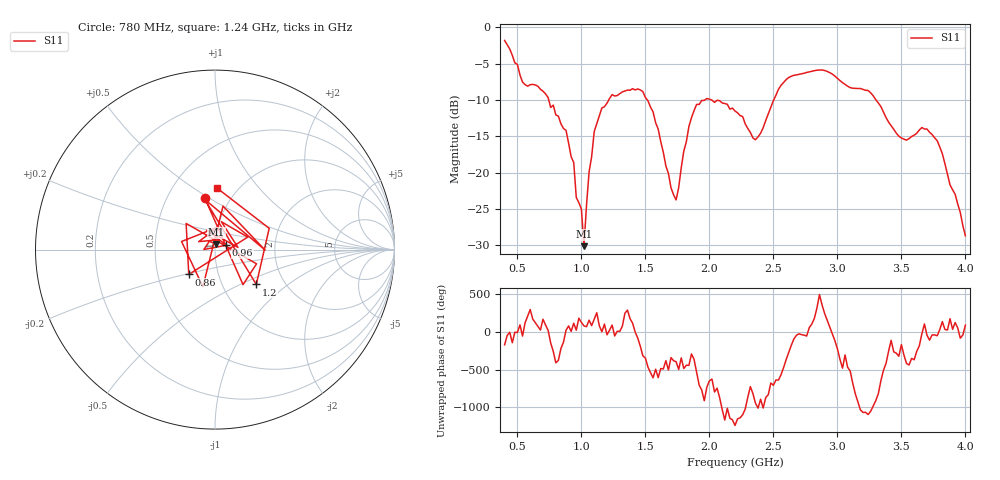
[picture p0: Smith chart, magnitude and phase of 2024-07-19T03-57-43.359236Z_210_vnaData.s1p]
!Created with skrf (http://scikit-rf.org).
# Hz S RI R 50.0
!freq ReS11 ImS11
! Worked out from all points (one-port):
!   181 points, 400 MHz to 4 GHz, reference 50 ohm
!   lowest |S11| = -30.1 dB at 1.02 GHz (marker M1), VSWR 1.06, Z = 50.6 + j3.08 ohm
!   |S11| at or under -10 dB: 744.9 MHz to 1.213 GHz (468.2 MHz wide, 47.8 % of centre); 2.018 GHz to 2.502 GHz (484.3 MHz wide, 21.4 % of centre); 3.302 GHz to end of sweep (the widest 3 of 4)
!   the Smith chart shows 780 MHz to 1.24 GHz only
!   S11 on the Smith chart (normalised r, x): 780 MHz: 0.76, +0.48; 860 MHz: 0.72, -0.21; 960 MHz: 1.13, +0.06; 1.2 GHz: 1.44, -0.62; 1.24 GHz: 0.80, +0.63
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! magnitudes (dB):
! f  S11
! 400 MHz  -1.8
! 540 MHz  -7.5
! 780 MHz  -10.7
! 860 MHz  -13.9
! 940 MHz  -18.6
! 960 MHz  -23.4
! 1 GHz  -25.0
! 1.02 GHz  -30.1
! 1.06 GHz  -19.9
! 1.1 GHz  -14.3
! 1.2 GHz  -10.4
! 1.24 GHz  -9.3
! 1.3 GHz  -9.1
! 1.48 GHz  -8.8
! 1.56 GHz  -11.6
! 1.72 GHz  -23.1
! 1.76 GHz  -22.1
! 1.84 GHz  -13.6
! 1.9 GHz  -10.6
! 2.2 GHz  -11.5
! 2.36 GHz  -15.5
! 2.66 GHz  -6.6
! 3.1 GHz  -8.3
! 3.24 GHz  -8.7
! 3.56 GHz  -15.3
! 3.66 GHz  -13.8
! 3.78 GHz  -15.6
! 4 GHz  -28.7
